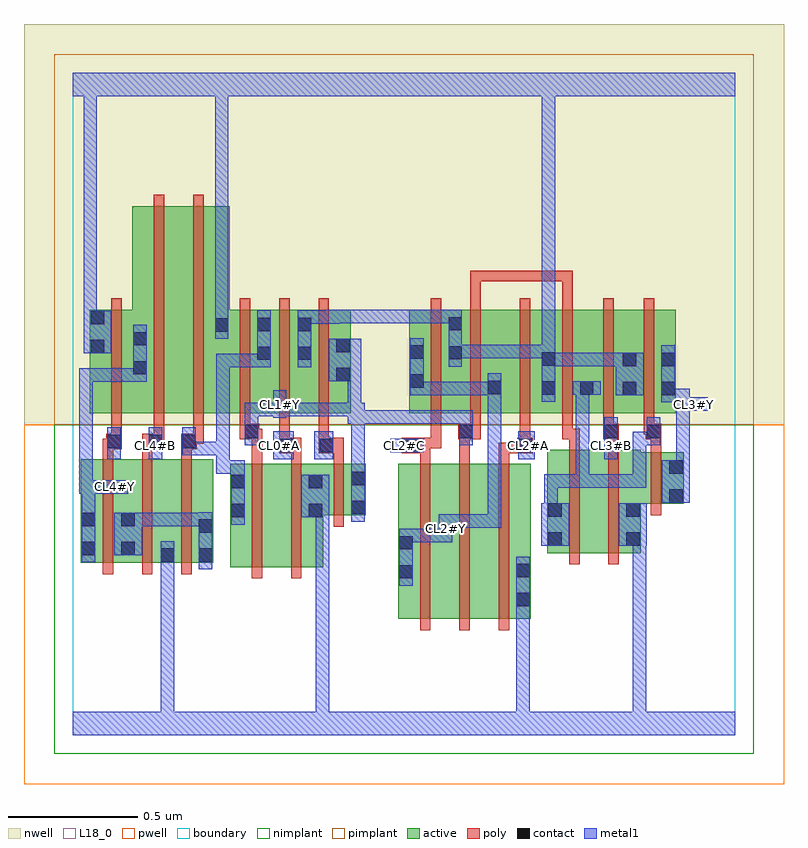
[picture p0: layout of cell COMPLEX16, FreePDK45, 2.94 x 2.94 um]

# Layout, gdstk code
import gdstk
lib = gdstk.Library(unit=1e-6, precision=1e-09)
def R(c, l, rs):  # rectangles x0, y0, x1, y1
    for r in rs: c.add(gdstk.rectangle(r[:2], r[2:], *l))
def A(c, l, x, y, w, h, nx, ny, dx, dy):  # array of equal rectangles
    R(c, l, [(x+i*dx, y+j*dy, x+i*dx+w, y+j*dy+h) for i in range(nx) for j in range(ny)])
active = (1, 0)
pwell = (2, 0)
nwell = (3, 0)
nimplant = (4, 0)
pimplant = (5, 0)
poly = (9, 0)
contact = (10, 0)
metal1 = (11, 0)
L18_0 = (18, 0)
boundary = (235, 0)

complex16 = lib.new_cell('COMPLEX16')
R(complex16, active, [(1.258,0.45,1.318,1.05), (1.258,0.45,1.438,1.05), (1.438,0.45,1.59,1.05), (1.59,0.45,1.77,1.05), (1.71,0.45,1.77,1.05), (0.608,0.65,0.788,1.05), (0.788,0.65,0.968,1.05), (0.908,0.65,0.968,1.05), (0.032,0.666,0.092,1.066), (0.032,0.666,0.244,1.066), (0.184,0.666,0.396,1.066), (0.184,0.666,0.244,0.864), (0.336,0.666,0.544,1.066), (0.336,0.666,0.396,0.726), (0.484,0.666,0.544,1.066), (1.834,0.704,2.014,1.104), (2.014,0.704,2.194,1.104), (2.134,0.704,2.194,0.9), (1.834,0.728,1.894,1.104), (0.608,0.756,0.668,1.05), (0.908,0.85,1.132,1.05), (1.072,0.85,1.132,1.05), (2.134,0.894,2.36,1.094), (2.3,0.894,2.36,1.094), (0.066,1.244,0.126,1.644), (0.066,1.244,0.29,1.644), (0.23,1.244,0.29,1.644), (0.23,1.244,0.41,2.044), (0.41,1.244,0.606,2.044), (0.546,1.244,0.606,1.644), (0.546,1.244,0.77,1.644), (0.71,1.244,0.77,1.644), (0.71,1.244,0.926,1.644), (0.866,1.244,0.926,1.644), (0.866,1.244,1.074,1.644), (1.014,1.244,1.074,1.644), (1.3,1.244,1.36,1.644), (1.3,1.244,1.508,1.644), (1.448,1.244,1.508,1.644), (1.448,1.244,1.66,1.644), (1.6,1.244,1.66,1.644), (1.6,1.244,1.868,1.644), (1.808,1.244,1.868,1.644), (1.808,1.244,2.016,1.644), (1.956,1.244,2.016,1.644), (1.956,1.244,2.182,1.644), (2.122,1.244,2.182,1.644), (2.122,1.244,2.33,1.644), (2.27,1.244,2.33,1.644)])
R(complex16, pwell, [(-0.188,-0.188,2.748,1.2)])
R(complex16, nwell, [(-0.188,1.2,2.748,2.748)])
R(complex16, nimplant, [(-0.072,-0.072,2.632,1.2)])
R(complex16, pimplant, [(-0.072,1.2,2.632,2.632)])
A(complex16, poly, 1.342, 0.406, 0.04, 0.688, 3, 1, 0.152, 0)
A(complex16, poly, 0.116, 0.622, 0.04, 0.488, 3, 1, 0.152, 0)
A(complex16, poly, 0.116, 1.07, 0.04, 0.076, 3, 1, 0.152, 0)
A(complex16, poly, 0.646, 1.2, 0.04, 0.488, 3, 1, 0.152, 0)
R(complex16, poly, [(0.692,0.606,0.732,1.094), (0.844,0.606,0.884,1.094), (1.918,0.66,1.958,1.148), (2.07,0.66,2.11,1.148), (1.008,0.806,1.048,1.094), (2.234,0.85,2.274,1.138), (0.692,1.054,0.732,1.184), (0.844,1.054,0.884,1.13), (1.008,1.054,1.048,1.13), (1.342,1.054,1.382,1.13), (1.494,1.054,1.534,1.184), (1.646,1.054,1.686,1.13), (0.798,1.09,0.884,1.15), (0.95,1.09,1.048,1.15), (1.272,1.09,1.382,1.15), (1.646,1.09,1.758,1.13), (1.718,1.09,1.758,1.13), (1.718,1.09,1.778,1.15), (2.234,1.098,2.274,1.184), (0.116,1.106,0.17,1.146), (0.13,1.106,0.17,1.146), (0.13,1.106,0.19,1.166), (0.268,1.106,0.35,1.166), (0.42,1.106,0.48,1.166), (1.918,1.108,1.958,1.184), (2.07,1.108,2.11,1.184), (0.798,1.11,0.838,1.15), (0.798,1.11,0.838,1.15), (0.798,1.11,0.838,1.24), (0.95,1.11,0.99,1.15), (0.95,1.11,0.99,1.15), (0.95,1.11,0.99,1.24), (1.342,1.11,1.382,1.15), (1.342,1.11,1.424,1.15), (1.384,1.11,1.424,1.24), (1.728,1.11,1.768,1.24), (0.15,1.126,0.19,1.24), (0.31,1.126,0.35,1.166), (0.31,1.126,0.354,1.166), (0.314,1.126,0.354,1.24), (0.44,1.126,0.48,1.166), (0.44,1.126,0.506,1.166), (0.466,1.126,0.506,1.24), (0.646,1.144,0.72,1.204), (0.68,1.144,0.72,1.184), (0.68,1.144,0.732,1.184), (1.49,1.144,1.576,1.204), (1.494,1.144,1.534,1.184), (1.494,1.144,1.534,1.184), (1.892,1.144,1.932,1.24), (1.892,1.144,1.958,1.184), (1.918,1.144,1.958,1.184), (1.918,1.144,1.958,1.184), (2.05,1.144,2.11,1.204), (2.07,1.144,2.11,1.184), (2.07,1.144,2.11,1.184), (2.214,1.144,2.274,1.204), (0.646,1.164,0.686,1.24), (1.536,1.164,1.576,1.24), (2.05,1.164,2.09,1.24), (2.206,1.164,2.246,1.24), (2.206,1.164,2.254,1.204), (2.214,1.164,2.254,1.204), (0.15,1.2,0.19,1.688), (0.314,1.2,0.354,2.088), (0.466,1.2,0.506,2.088), (1.384,1.2,1.424,1.688), (1.536,1.2,1.576,1.688), (1.728,1.2,1.768,1.688), (1.892,1.2,1.932,1.688), (2.05,1.2,2.09,1.688), (2.206,1.2,2.246,1.688), (1.536,1.648,1.576,1.794), (1.892,1.648,1.932,1.794), (1.536,1.754,1.576,1.794), (1.536,1.754,1.576,1.794), (1.536,1.754,1.576,1.794), (1.536,1.754,1.826,1.794), (1.786,1.754,1.826,1.794), (1.786,1.754,1.826,1.794), (1.786,1.754,1.826,1.794), (1.786,1.754,1.932,1.794), (1.892,1.754,1.932,1.794), (1.892,1.754,1.932,1.794), (1.892,1.754,1.932,1.794)])
R(complex16, contact, [(1.714,0.498,1.766,0.55), (1.262,0.606,1.314,0.658), (1.714,0.61,1.766,0.662), (0.34,0.67,0.392,0.722), (0.488,0.67,0.54,0.722), (0.036,0.696,0.088,0.748), (0.188,0.696,0.24,0.748), (1.262,0.718,1.314,0.77), (1.838,0.732,1.89,0.784), (2.138,0.732,2.19,0.784), (0.488,0.782,0.54,0.834), (0.036,0.808,0.088,0.86), (0.188,0.808,0.24,0.86), (0.612,0.842,0.664,0.894), (0.912,0.842,0.964,0.894), (1.838,0.844,1.89,0.896), (2.138,0.844,2.19,0.896), (1.076,0.854,1.128,0.906), (2.304,0.898,2.356,0.95), (0.612,0.954,0.664,1.006), (0.912,0.954,0.964,1.006), (1.076,0.966,1.128,1.018), (2.304,1.01,2.356,1.062), (0.802,1.094,0.854,1.146), (0.954,1.094,1.006,1.146), (1.276,1.094,1.328,1.146), (1.722,1.094,1.774,1.146), (0.134,1.11,0.186,1.162), (0.294,1.11,0.346,1.162), (0.424,1.11,0.476,1.162), (0.664,1.148,0.716,1.2), (1.494,1.148,1.546,1.2), (2.054,1.148,2.106,1.2), (2.218,1.148,2.27,1.2), (2.126,1.314,2.178,1.366), (2.274,1.314,2.326,1.366), (1.812,1.316,1.864,1.368), (1.96,1.316,2.012,1.368), (1.604,1.318,1.656,1.37), (1.304,1.342,1.356,1.394), (1.018,1.368,1.07,1.42), (0.234,1.394,0.286,1.446), (2.126,1.426,2.178,1.478), (2.274,1.426,2.326,1.478), (1.812,1.428,1.864,1.48), (0.714,1.45,0.766,1.502), (0.87,1.45,0.922,1.502), (1.452,1.452,1.504,1.504), (1.304,1.454,1.356,1.506), (0.07,1.476,0.122,1.528), (1.018,1.48,1.07,1.532), (0.234,1.506,0.286,1.558), (0.55,1.56,0.602,1.612), (0.714,1.562,0.766,1.614), (0.87,1.562,0.922,1.614), (1.452,1.564,1.504,1.616), (0.07,1.588,0.122,1.64)])
R(complex16, metal1, [(0,0,2.56,0.092), (0.34,0.04,0.392,0.092), (0.34,0.04,0.392,0.092), (0.34,0.04,0.392,0.092), (0.34,0.04,0.392,0.092), (0.34,0.04,0.392,0.092), (0.34,0.04,0.392,0.092), (0.34,0.04,0.392,0.092), (0.34,0.04,0.392,0.092), (0.34,0.04,0.392,0.092), (0.34,0.04,0.392,0.092), (0.34,0.04,0.392,0.092), (0.34,0.04,0.392,0.092), (0.34,0.04,0.392,0.694), (0.94,0.04,0.992,0.092), (0.94,0.04,0.992,0.092), (0.94,0.04,0.992,0.092), (0.94,0.04,0.992,0.092), (0.94,0.04,0.992,0.092), (0.94,0.04,0.992,0.092), (0.94,0.04,0.992,0.092), (0.94,0.04,0.992,0.092), (0.94,0.04,0.992,0.092), (0.94,0.04,0.992,0.092), (0.94,0.04,0.992,0.092), (0.94,0.04,0.992,0.092), (0.94,0.04,0.992,0.894), (1.714,0.04,1.766,0.092), (1.714,0.04,1.766,0.092), (1.714,0.04,1.766,0.092), (1.714,0.04,1.766,0.092), (1.714,0.04,1.766,0.092), (1.714,0.04,1.766,0.092), (1.714,0.04,1.766,0.092), (1.714,0.04,1.766,0.092), (1.714,0.04,1.766,0.522), (2.164,0.04,2.216,0.092), (2.164,0.04,2.216,0.092), (2.164,0.04,2.216,0.092), (2.164,0.04,2.216,0.092), (2.164,0.04,2.216,0.092), (2.164,0.04,2.216,0.092), (2.164,0.04,2.216,0.092), (2.164,0.04,2.216,0.092), (2.164,0.04,2.216,0.092), (2.164,0.04,2.216,0.092), (2.164,0.04,2.216,0.092), (2.164,0.04,2.216,0.092), (2.164,0.04,2.216,0.784), (1.714,0.47,1.766,0.69), (1.262,0.578,1.314,0.798), (0.34,0.642,0.392,0.75), (0.488,0.642,0.54,0.862), (0.036,0.668,0.088,0.888), (0.16,0.696,0.268,0.86), (1.81,0.732,1.918,0.896), (2.11,0.732,2.218,0.896), (1.262,0.746,1.314,0.798), (1.262,0.746,1.314,0.798), (1.262,0.746,1.466,0.798), (1.414,0.746,1.466,0.798), (1.414,0.746,1.466,0.798), (1.414,0.746,1.466,0.854), (1.414,0.802,1.466,0.854), (1.414,0.802,1.466,0.854), (1.414,0.802,1.656,0.854), (1.604,0.802,1.656,0.854), (1.604,0.802,1.656,0.854), (1.604,0.802,1.656,0.854), (1.604,0.802,1.656,1.342), (0.216,0.808,0.268,0.86), (0.216,0.808,0.268,0.86), (0.216,0.808,0.396,0.86), (0.344,0.808,0.396,0.86), (0.344,0.808,0.396,0.86), (0.344,0.808,0.396,0.86), (0.344,0.808,0.54,0.86), (0.612,0.814,0.664,1.034), (1.076,0.826,1.128,1.046), (0.036,0.836,0.088,0.986), (0.884,0.842,0.992,1.006), (1.822,0.844,1.874,1.008), (2.276,0.898,2.384,1.062), (0.026,0.934,0.078,0.986), (0.026,0.934,0.078,0.986), (0.026,0.934,0.078,1.418), (0.026,0.934,0.214,0.986), (1.822,0.956,1.874,1.008), (1.822,0.956,1.996,1.008), (1.944,0.956,1.996,1.008), (1.944,0.956,1.996,1.008), (1.944,0.956,1.996,1.008), (1.944,0.956,2.106,1.008), (1.944,0.956,1.996,1.368), (2.054,0.956,2.106,1.008), (2.054,0.956,2.216,1.008), (2.164,0.956,2.216,1.172), (0.612,0.982,0.664,1.062), (1.076,0.994,1.128,1.046), (1.076,0.994,1.128,1.046), (1.076,0.994,1.128,1.256), (0.554,1.01,0.606,1.062), (0.554,1.01,0.606,1.062), (0.554,1.01,0.606,1.062), (0.554,1.01,0.664,1.062), (0.554,1.01,0.606,1.474), (0.554,1.01,0.606,1.134), (2.332,1.01,2.384,1.306), (0.134,1.066,0.186,1.19), (0.294,1.066,0.346,1.19), (0.774,1.066,0.854,1.174), (0.934,1.066,1.006,1.174), (1.722,1.066,1.786,1.174), (2.054,1.066,2.106,1.228), (0.424,1.082,0.476,1.19), (0.424,1.082,0.606,1.134), (1.226,1.094,1.356,1.146), (0.664,1.12,0.716,1.228), (1.494,1.12,1.546,1.228), (2.164,1.12,2.27,1.172), (2.218,1.12,2.27,1.228), (0.664,1.176,0.716,1.228), (0.664,1.176,0.716,1.284), (1.494,1.176,1.546,1.228), (1.494,1.176,1.546,1.256), (1.062,1.204,1.128,1.284), (1.076,1.204,1.276,1.256), (1.224,1.204,1.276,1.256), (1.224,1.204,1.276,1.256), (1.224,1.204,1.276,1.256), (1.224,1.204,1.546,1.256), (0.774,1.226,0.826,1.334), (0.664,1.232,0.826,1.284), (0.774,1.232,0.826,1.284), (0.774,1.232,0.826,1.284), (0.774,1.232,1.114,1.284), (1.062,1.232,1.114,1.284), (1.062,1.232,1.114,1.284), (1.062,1.232,1.114,1.42), (2.332,1.254,2.384,1.338), (2.332,1.254,2.454,1.306), (2.274,1.286,2.326,1.338), (2.274,1.286,2.326,1.506), (2.274,1.286,2.384,1.338), (1.812,1.288,1.864,1.508), (1.604,1.29,1.656,1.398), (1.304,1.314,1.356,1.366), (1.304,1.314,1.356,1.366), (1.304,1.314,1.356,1.534), (1.304,1.314,1.546,1.366), (1.494,1.314,1.546,1.366), (1.494,1.314,1.546,1.366), (1.494,1.314,1.546,1.366), (1.494,1.314,1.656,1.366), (2.098,1.314,2.206,1.478), (1.932,1.316,2.04,1.368), (1.944,1.316,1.996,1.368), (1.944,1.316,1.996,1.368), (0.026,1.366,0.078,1.418), (0.026,1.366,0.078,1.418), (0.026,1.366,0.078,1.418), (0.026,1.366,0.286,1.418), (0.234,1.366,0.286,1.586), (0.99,1.368,1.114,1.532), (0.554,1.422,0.606,1.474), (0.554,1.422,0.716,1.474), (0.664,1.422,0.716,1.474), (0.664,1.422,0.766,1.474), (0.714,1.422,0.766,1.642), (0.87,1.422,0.922,1.642), (1.452,1.424,1.504,1.644), (1.812,1.426,1.984,1.478), (1.932,1.426,1.984,1.478), (1.932,1.426,1.984,1.478), (1.932,1.426,1.984,1.478), (1.932,1.426,2.15,1.478), (2.098,1.426,2.15,1.478), (2.098,1.426,2.15,1.478), (1.452,1.456,1.504,1.508), (1.452,1.456,1.504,1.508), (1.452,1.456,1.656,1.508), (1.604,1.456,1.656,1.508), (1.604,1.456,1.656,1.508), (1.604,1.456,1.656,1.508), (1.604,1.456,1.864,1.508), (1.812,1.456,1.864,1.508), (1.812,1.456,1.864,1.508), (1.812,1.456,1.864,1.508), (1.812,1.456,1.864,1.508), (1.812,1.456,1.864,1.508), (1.812,1.456,1.864,1.508), (1.812,1.456,1.864,1.508), (1.812,1.456,1.864,1.508), (1.812,1.456,1.864,1.508), (1.812,1.456,1.864,1.508), (1.812,1.456,1.864,1.508), (1.812,1.456,1.864,1.508), (1.812,1.456,1.864,1.508), (1.812,1.456,1.864,1.508), (1.812,1.456,1.864,1.508), (1.812,1.456,1.864,1.508), (1.812,1.456,1.864,2.52), (0.042,1.476,0.15,1.64), (0.55,1.532,0.602,1.64), (0.042,1.588,0.094,1.644), (0.55,1.588,0.602,1.64), (0.55,1.588,0.602,1.64), (0.55,1.588,0.602,1.64), (0.55,1.588,0.602,1.64), (0.55,1.588,0.602,1.64), (0.55,1.588,0.602,1.64), (0.55,1.588,0.602,2.52), (0.87,1.59,1.032,1.642), (0.98,1.59,1.032,1.644), (0.042,1.592,0.094,1.644), (0.042,1.592,0.094,1.644), (0.042,1.592,0.094,1.644), (0.042,1.592,0.094,1.644), (0.042,1.592,0.094,1.644), (0.042,1.592,0.094,1.644), (0.042,1.592,0.094,1.644), (0.042,1.592,0.094,1.644), (0.042,1.592,0.094,1.644), (0.042,1.592,0.094,1.644), (0.042,1.592,0.094,1.644), (0.042,1.592,0.094,1.644), (0.042,1.592,0.094,1.644), (0.042,1.592,0.094,1.644), (0.042,1.592,0.094,1.644), (0.042,1.592,0.094,2.52), (0.98,1.592,1.032,1.644), (0.98,1.592,1.032,1.644), (0.98,1.592,1.356,1.644), (1.304,1.592,1.356,1.644), (1.304,1.592,1.356,1.644), (1.304,1.592,1.356,1.644), (1.304,1.592,1.504,1.644), (0,2.468,2.56,2.56), (0.55,2.468,0.602,2.52), (0.55,2.468,0.602,2.52), (1.812,2.468,1.864,2.52), (1.812,2.468,1.864,2.52)])
A(complex16, L18_0, 1.414, 0.746, 0.052, 0.052, 1, 3, 0, 0.028)
R(complex16, L18_0, [(0,0,2.56,0.092), (0.34,0.04,0.392,0.092), (0.34,0.04,0.392,0.092), (0.34,0.04,0.392,0.092), (0.34,0.04,0.392,0.092), (0.34,0.04,0.392,0.092), (0.34,0.04,0.392,0.092), (0.34,0.04,0.392,0.092), (0.34,0.04,0.392,0.092), (0.34,0.04,0.392,0.092), (0.34,0.04,0.392,0.092), (0.34,0.04,0.392,0.092), (0.34,0.04,0.392,0.092), (0.34,0.04,0.392,0.694), (0.94,0.04,0.992,0.092), (0.94,0.04,0.992,0.092), (0.94,0.04,0.992,0.092), (0.94,0.04,0.992,0.092), (0.94,0.04,0.992,0.092), (0.94,0.04,0.992,0.092), (0.94,0.04,0.992,0.092), (0.94,0.04,0.992,0.092), (0.94,0.04,0.992,0.092), (0.94,0.04,0.992,0.092), (0.94,0.04,0.992,0.092), (0.94,0.04,0.992,0.092), (0.94,0.04,0.992,0.894), (1.714,0.04,1.766,0.092), (1.714,0.04,1.766,0.092), (1.714,0.04,1.766,0.092), (1.714,0.04,1.766,0.092), (1.714,0.04,1.766,0.092), (1.714,0.04,1.766,0.092), (1.714,0.04,1.766,0.092), (1.714,0.04,1.766,0.092), (1.714,0.04,1.766,0.522), (2.164,0.04,2.216,0.092), (2.164,0.04,2.216,0.092), (2.164,0.04,2.216,0.092), (2.164,0.04,2.216,0.092), (2.164,0.04,2.216,0.092), (2.164,0.04,2.216,0.092), (2.164,0.04,2.216,0.092), (2.164,0.04,2.216,0.092), (2.164,0.04,2.216,0.092), (2.164,0.04,2.216,0.092), (2.164,0.04,2.216,0.092), (2.164,0.04,2.216,0.092), (2.164,0.04,2.216,0.784), (1.714,0.47,1.766,0.69), (1.262,0.578,1.314,0.798), (0.34,0.642,0.392,0.75), (0.036,0.668,0.088,0.888), (2.11,0.732,2.218,0.896), (1.262,0.746,1.314,0.798), (1.262,0.746,1.314,0.798), (1.262,0.746,1.466,0.798), (1.414,0.746,1.466,0.798), (1.414,0.746,1.466,0.854), (1.414,0.802,1.466,0.854), (1.414,0.802,1.656,0.854), (1.604,0.802,1.656,0.854), (1.604,0.802,1.656,0.854), (1.604,0.802,1.656,0.854), (1.604,0.802,1.656,1.342), (1.076,0.826,1.128,1.046), (0.036,0.836,0.088,0.986), (0.884,0.842,0.992,1.006), (2.276,0.898,2.384,1.062), (0.026,0.934,0.214,0.986), (0.026,0.934,0.078,0.986), (0.026,0.934,0.078,0.986), (0.026,0.934,0.078,1.418), (0.134,0.934,0.186,0.986), (1.076,0.994,1.128,1.046), (1.076,0.994,1.128,1.046), (1.076,0.994,1.128,1.256), (2.332,1.01,2.384,1.306), (0.134,1.066,0.186,1.19), (0.294,1.066,0.346,1.19), (0.774,1.066,0.854,1.174), (0.934,1.066,1.006,1.174), (1.722,1.066,1.786,1.174), (2.054,1.066,2.106,1.228), (0.134,1.094,0.186,1.146), (0.294,1.094,0.346,1.146), (0.774,1.094,0.826,1.146), (0.934,1.094,0.986,1.146), (1.226,1.094,1.356,1.146), (1.254,1.094,1.306,1.146), (1.734,1.094,1.786,1.146), (2.054,1.094,2.106,1.146), (0.664,1.12,0.716,1.228), (1.494,1.12,1.546,1.228), (0.664,1.176,0.716,1.228), (0.664,1.176,0.716,1.284), (1.494,1.176,1.546,1.228), (1.494,1.176,1.546,1.256), (1.062,1.204,1.128,1.284), (1.076,1.204,1.276,1.256), (1.224,1.204,1.276,1.256), (1.224,1.204,1.276,1.256), (1.224,1.204,1.276,1.256), (1.224,1.204,1.546,1.256), (0.774,1.226,0.826,1.334), (0.664,1.232,0.826,1.284), (0.774,1.232,0.826,1.284), (0.774,1.232,0.826,1.284), (0.774,1.232,1.114,1.284), (1.062,1.232,1.114,1.284), (1.062,1.232,1.114,1.284), (1.062,1.232,1.114,1.42), (0.774,1.254,0.826,1.306), (2.332,1.254,2.454,1.306), (2.332,1.254,2.384,1.338), (2.374,1.254,2.426,1.306), (2.274,1.286,2.326,1.506), (2.274,1.286,2.326,1.338), (2.274,1.286,2.384,1.338), (1.812,1.288,1.864,1.508), (1.604,1.29,1.656,1.398), (1.304,1.314,1.356,1.534), (1.304,1.314,1.356,1.366), (1.304,1.314,1.356,1.366), (1.304,1.314,1.546,1.366), (1.494,1.314,1.546,1.366), (1.494,1.314,1.546,1.366), (1.494,1.314,1.546,1.366), (1.494,1.314,1.656,1.366), (2.098,1.314,2.206,1.478), (0.026,1.366,0.078,1.418), (0.026,1.366,0.078,1.418), (0.026,1.366,0.078,1.418), (0.026,1.366,0.286,1.418), (0.234,1.366,0.286,1.586), (0.99,1.368,1.114,1.532), (0.87,1.422,0.922,1.642), (1.452,1.424,1.504,1.644), (1.812,1.426,1.984,1.478), (1.932,1.426,1.984,1.478), (1.932,1.426,1.984,1.478), (1.932,1.426,1.984,1.478), (1.932,1.426,2.15,1.478), (2.098,1.426,2.15,1.478), (2.098,1.426,2.15,1.478), (1.452,1.456,1.504,1.508), (1.452,1.456,1.504,1.508), (1.452,1.456,1.656,1.508), (1.604,1.456,1.656,1.508), (1.604,1.456,1.656,1.508), (1.604,1.456,1.656,1.508), (1.604,1.456,1.864,1.508), (1.812,1.456,1.864,1.508), (1.812,1.456,1.864,1.508), (1.812,1.456,1.864,1.508), (1.812,1.456,1.864,1.508), (1.812,1.456,1.864,1.508), (1.812,1.456,1.864,1.508), (1.812,1.456,1.864,1.508), (1.812,1.456,1.864,1.508), (1.812,1.456,1.864,1.508), (1.812,1.456,1.864,1.508), (1.812,1.456,1.864,1.508), (1.812,1.456,1.864,1.508), (1.812,1.456,1.864,1.508), (1.812,1.456,1.864,1.508), (1.812,1.456,1.864,1.508), (1.812,1.456,1.864,1.508), (1.812,1.456,1.864,2.52), (0.042,1.476,0.15,1.64), (0.55,1.532,0.602,1.64), (0.042,1.588,0.094,1.644), (0.55,1.588,0.602,1.64), (0.55,1.588,0.602,1.64), (0.55,1.588,0.602,1.64), (0.55,1.588,0.602,1.64), (0.55,1.588,0.602,1.64), (0.55,1.588,0.602,1.64), (0.55,1.588,0.602,2.52), (0.87,1.59,1.032,1.642), (0.98,1.59,1.032,1.644), (0.042,1.592,0.094,1.644), (0.042,1.592,0.094,1.644), (0.042,1.592,0.094,1.644), (0.042,1.592,0.094,1.644), (0.042,1.592,0.094,1.644), (0.042,1.592,0.094,1.644), (0.042,1.592,0.094,1.644), (0.042,1.592,0.094,1.644), (0.042,1.592,0.094,1.644), (0.042,1.592,0.094,1.644), (0.042,1.592,0.094,1.644), (0.042,1.592,0.094,1.644), (0.042,1.592,0.094,1.644), (0.042,1.592,0.094,1.644), (0.042,1.592,0.094,1.644), (0.042,1.592,0.094,2.52), (0.98,1.592,1.032,1.644), (0.98,1.592,1.032,1.644), (0.98,1.592,1.356,1.644), (1.304,1.592,1.356,1.644), (1.304,1.592,1.356,1.644), (1.304,1.592,1.356,1.644), (1.304,1.592,1.504,1.644), (0,2.468,2.56,2.56), (0.55,2.468,0.602,2.52), (0.55,2.468,0.602,2.52), (1.812,2.468,1.864,2.52), (1.812,2.468,1.864,2.52)])
R(complex16, boundary, [(0,0,2.56,2.56)])
complex16.add(gdstk.Label('CL0#A', (0.8,1.12), layer=11, texttype=0))
complex16.add(gdstk.Label('CL1#A', (0.96,1.12), layer=11, texttype=0))
complex16.add(gdstk.Label('CL1#Y', (0.8,1.28), layer=11, texttype=0))
complex16.add(gdstk.Label('CL2#A', (1.76,1.12), layer=11, texttype=0))
complex16.add(gdstk.Label('CL2#C', (1.28,1.12), layer=11, texttype=0))
complex16.add(gdstk.Label('CL2#Y', (1.44,0.8), layer=11, texttype=0))
complex16.add(gdstk.Label('CL3#B', (2.08,1.12), layer=11, texttype=0))
complex16.add(gdstk.Label('CL3#Y', (2.4,1.28), layer=11, texttype=0))
complex16.add(gdstk.Label('CL4#B', (0.32,1.12), layer=11, texttype=0))
complex16.add(gdstk.Label('CL4#C', (0.16,1.12), layer=11, texttype=0))
complex16.add(gdstk.Label('CL4#Y', (0.16,0.96), layer=11, texttype=0))

lib.write_gds('COMPLEX16.gds')
